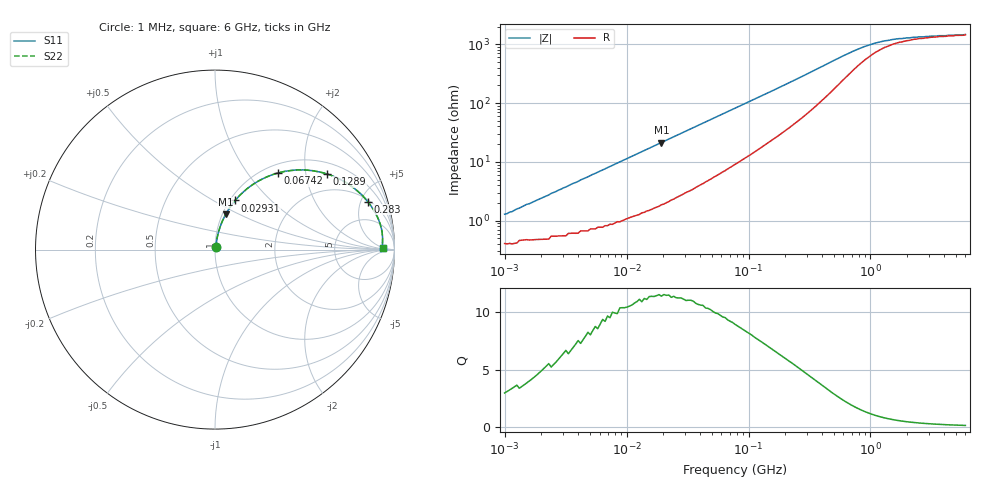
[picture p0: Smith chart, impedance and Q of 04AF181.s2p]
# MHz S MA R 50
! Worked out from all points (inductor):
!   189 points, 1 MHz to 6 GHz, reference 50 ohm
!   read as one part in series: L = 191 nH near 1.047 MHz
!   highest Q = 11.5 at 19.33 MHz (marker M1), where L = 175 nH
!   S11 on the Smith chart (normalised r, x): 1 MHz: 1.01, +0.02; 29.31 MHz: 1.06, +0.63; 67.42 MHz: 1.15, +1.41; 128.9 MHz: 1.36, +2.64; 283 MHz: 2.19, +5.71; 6 GHz: 30, +5
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1  0.013 70.4  0.996 -0.7  0.996 -0.7  0.013 70.4
1.149  0.014 72.1  0.996 -0.8  0.996 -0.8  0.014 72.1
1.26  0.016 73.1  0.996 -0.9  0.996 -0.9  0.016 73.1
1.32  0.016 73.6  0.995 -0.9  0.995 -0.9  0.016 73.6
1.517  0.019 74.9  0.995 -1.0  0.995 -1.0  0.019 74.9
4.396  0.051 79.7  0.992 -2.9  0.992 -2.9  0.051 79.7
9.655  0.107 78.4  0.984 -6.1  0.984 -6.1  0.107 78.4
18.454  0.196 73.7  0.964 -11.3  0.964 -11.3  0.196 73.7
19.328  0.205 73.2  0.961 -11.8  0.961 -11.8  0.205 73.2
29.312  0.296 67.8  0.929 -17.1  0.929 -17.1  0.296 67.8
42.444  0.4 61.1  0.88 -23.5  0.88 -23.5  0.4 61.1
67.42  0.552 50.6  0.777 -33.3  0.777 -33.3  0.552 50.6
77.46  0.599 47.1  0.737 -36.5  0.737 -36.5  0.599 47.1
128.866  0.753 34.0  0.565 -48.3  0.565 -48.3  0.753 34.0
195.437  0.842 24.4  0.419 -56.2  0.419 -56.2  0.842 24.4
282.995  0.892 17.4  0.306 -60.9  0.306 -60.9  0.892 17.4
340.538  0.909 14.5  0.257 -62.1  0.257 -62.1  0.909 14.5
783.255  0.936 5.6  0.114 -53.3  0.114 -53.3  0.936 5.6
1082.877  0.936 3.8  0.09 -42.8  0.09 -42.8  0.936 3.8
1429.415  0.935 2.7  0.08 -33.4  0.08 -33.4  0.935 2.7
2270.512  0.934 1.6  0.071 -21.2  0.071 -21.2  0.934 1.6
6000  0.937 0.6  0.064 -8.8  0.064 -8.8  0.937 0.6
